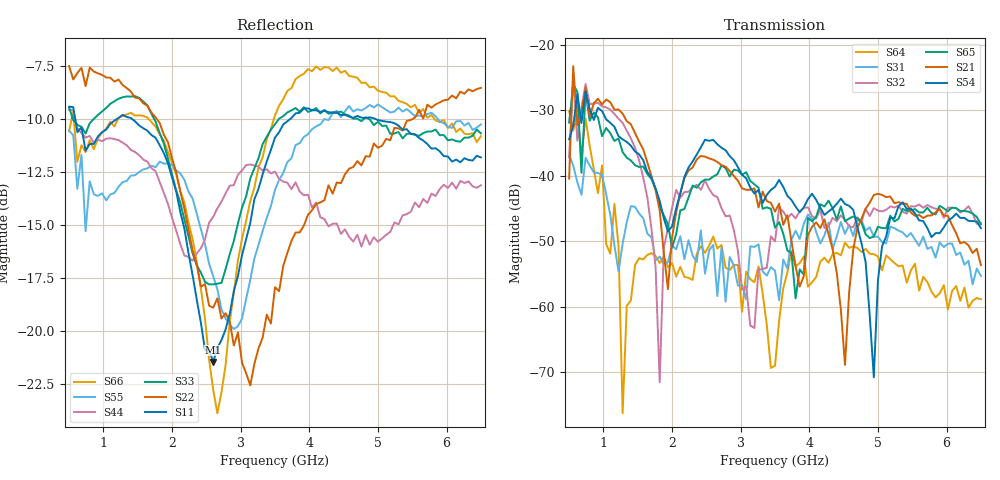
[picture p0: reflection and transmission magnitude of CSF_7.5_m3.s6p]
!Keysight Technologies,M9804A,MY58100912,A.14.10.03
!Date: Thursday, April 27, 2023 10:28:33
!Correction: S11(C  6-Port  )
!S12(C  6-Port  )
!S13(C  6-Port  )
!S14(C  6-Port  )
!S15(C  6-Port  )
!S16(C  6-Port  )
!S21(C  6-Port  )
!S22(C  6-Port  )
!S23(C  6-Port  )
!S24(C  6-Port  )
!S25(C  6-Port  )
!S26(C  6-Port  )
!S31(C  6-Port  )
!S32(C  6-Port  )
!S33(C  6-Port  )
!S34(C  6-Port  )
!S35(C  6-Port  )
!S36(C  6-Port  )
!S41(C  6-Port  )
!S42(C  6-Port  )
!S43(C  6-Port  )
!S44(C  6-Port  )
!S45(C  6-Port  )
!S46(C  6-Port  )
!S51(C  6-Port  )
!S52(C  6-Port  )
!S53(C  6-Port  )
!S54(C  6-Port  )
!S55(C  6-Port  )
!S56(C  6-Port  )
!S61(C  6-Port  )
!S62(C  6-Port  )
!S63(C  6-Port  )
!S64(C  6-Port  )
!S65(C  6-Port  )
!S66(C  6-Port  )
!S6P File: Measurement: :
# Hz S  RI  R 50
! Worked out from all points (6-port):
!   101 points, 500 MHz to 6.5 GHz, reference 50 ohm
!   strongest paths, dB at 500 MHz, 2 GHz, 3.5 GHz, 5 GHz, 6.5 GHz:
!     S54: -34.5, -47.7, -41.7, -56.0, -48.0
!     S21: -40.5, -49.5, -45.5, -42.8, -53.7
!     S65: -31.9, -51.0, -47.9, -47.8, -47.4
!     S32: -37.2, -44.9, -50.0, -45.3, -47.2
!     S31: -36.8, -50.6, -54.5, -49.3, -55.3
!     S64: -30.1, -53.3, -69.0, -52.3, -58.9
!   lowest |S11| = -21.4 dB at 2.6 GHz (marker M1), VSWR 1.19, Z = 42.5 + j2.22 ohm
!   |S11| at or under -10 dB: 589 MHz to 1.189 GHz (600.4 MHz wide, 67.5 % of centre); 1.423 GHz to 3.716 GHz (2.293 GHz wide, 89.2 % of centre); 4.974 GHz to end of sweep
